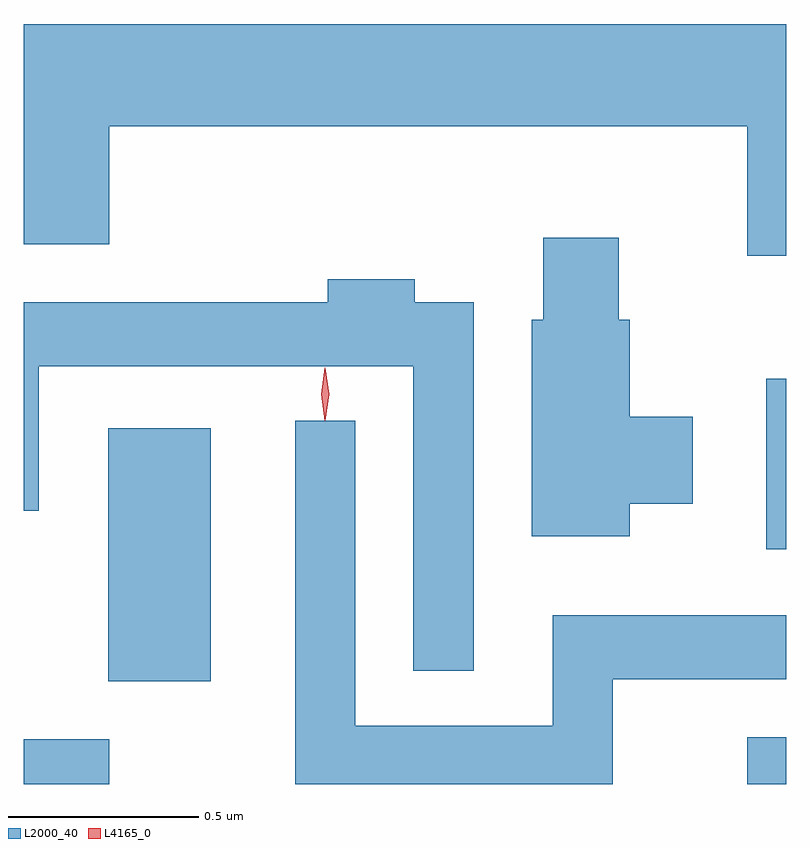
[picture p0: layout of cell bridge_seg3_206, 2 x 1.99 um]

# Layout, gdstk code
import gdstk
lib = gdstk.Library(unit=1e-6, precision=1e-09)
def R(c, l, rs):  # rectangles x0, y0, x1, y1
    for r in rs: c.add(gdstk.rectangle(r[:2], r[2:], *l))
def P(c, l, *ps):  # polygons
    for p in ps: c.add(gdstk.Polygon(p, *l))
L2000_40 = (2000, 40)
L4165_0 = (4165, 0)

bridge_seg3_206 = lib.new_cell('bridge_seg3_206')
R(bridge_seg3_206, L2000_40, [(1050.504,1150.931,1050.729,1151.049), (1052.401,1150.931,1052.504,1151.054), (1050.726,1151.201,1050.994,1151.864), (1052.451,1151.546,1052.504,1151.994)])
P(bridge_seg3_206, L2000_40, [(1052.504,1152.924),(1050.504,1152.924),(1050.504,1152.346),(1050.729,1152.346),(1050.729,1152.656),(1052.401,1152.656),(1052.401,1152.316),(1052.504,1152.316)],
  [(1052.094,1151.666),(1052.259,1151.666),(1052.259,1151.894),(1052.094,1151.894),(1052.094,1152.149),(1052.064,1152.149),(1052.064,1152.364),(1051.866,1152.364),(1051.866,1152.149),(1051.836,1152.149),(1051.836,1151.581),(1052.094,1151.581)],
  [(1051.684,1152.194),(1051.529,1152.194),(1051.529,1152.254),(1051.301,1152.254),(1051.301,1152.194),(1050.504,1152.194),(1050.504,1151.648),(1050.544,1151.648),(1050.544,1152.026),(1051.526,1152.026),(1051.526,1151.228),(1051.684,1151.228)],
  [(1052.049,1151.206),(1052.504,1151.206),(1052.504,1151.374),(1051.891,1151.374),(1051.891,1151.084),(1051.374,1151.084),(1051.374,1151.883),(1051.216,1151.883),(1051.216,1150.931),(1052.049,1150.931)])
P(bridge_seg3_206, L4165_0, [(1051.295,1151.883),(1051.294,1151.884),(1051.285,1151.953),(1051.294,1152.022),(1051.295,1152.023),(1051.295,1152.022),(1051.305,1151.953),(1051.295,1151.884)])

lib.write_gds('bridge_seg3_206.gds')
